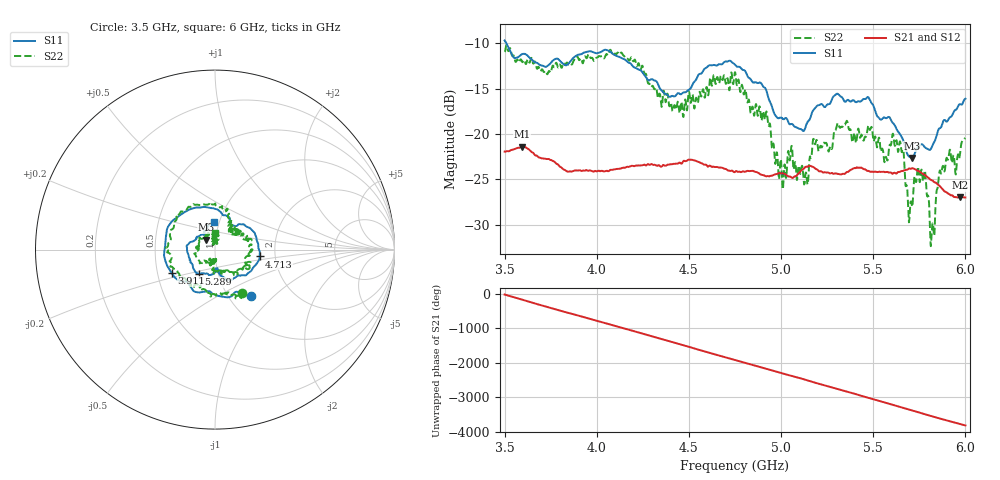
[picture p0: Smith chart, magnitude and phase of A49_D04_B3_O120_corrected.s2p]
! Created with skrf 1.9.0 (http://scikit-rf.org).
# Hz S RI R 50.0
!freq ReS11 ImS11 ReS21 ImS21 ReS12 ImS12 ReS22 ImS22
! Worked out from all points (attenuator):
!   1601 points, 3.5 GHz to 6 GHz, reference 50 ohm
!   highest |S21| = -21.40 dB at 3.594 GHz (marker M1); lowest = -27.0 dB at 5.972 GHz (marker M2)
!   lowest |S11| = -22.7 dB at 5.711 GHz (marker M3), VSWR 1.16, Z = 45.1 + j5.06 ohm
!   |S11| at or under -10 dB: 3.509 GHz to end of sweep
!   |S22| runs from -32.4 to -10.2 dB; largest |S21 - S12| = 0.001
!   S11 on the Smith chart (normalised r, x): 3.5 GHz: 1.27, -0.73; 3.911 GHz: 0.59, -0.17; 4.713 GHz: 1.65, -0.14; 5.289 GHz: 0.81, -0.22; 6 GHz: 0.94, +0.30
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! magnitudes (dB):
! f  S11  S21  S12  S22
! 3.5 GHz  -9.7  -22.0  -21.9  -10.9
! 3.594 GHz  -11.2  -21.4  -21.4  -12.0
! 3.911 GHz  -11.2  -24.0  -24.0  -11.7
! 3.917 GHz  -11.2  -24.1  -24.1  -11.8
! 4.138 GHz  -11.7  -23.7  -23.7  -11.1
! 4.334 GHz  -14.6  -23.5  -23.4  -16.0
! 4.713 GHz  -12.0  -24.0  -24.0  -14.1
! 4.75 GHz  -12.4  -24.2  -24.1  -13.2
! 4.928 GHz  -15.8  -24.6  -24.6  -18.6
! 5 GHz  -18.2  -24.4  -24.3  -23.0
! 5.048 GHz  -18.9  -24.7  -24.7  -22.8
! 5.136 GHz  -19.0  -23.6  -23.5  -24.3
! 5.167 GHz  -17.7  -23.6  -23.5  -22.1
! 5.289 GHz  -15.8  -24.4  -24.3  -19.7
! 5.584 GHz  -18.1  -24.3  -24.2  -21.8
! 5.653 GHz  -20.3  -24.1  -24.0  -21.9
! 5.711 GHz  -22.7  -23.8  -23.7  -28.0
! 5.772 GHz  -21.3  -24.4  -24.4  -25.2
! 5.822 GHz  -21.3  -25.1  -25.1  -29.9
! 5.867 GHz  -19.3  -25.9  -25.8  -24.4
! 5.972 GHz  -16.7  -27.0  -26.9  -22.1
! 6 GHz  -16.1  -27.0  -26.9  -20.5
